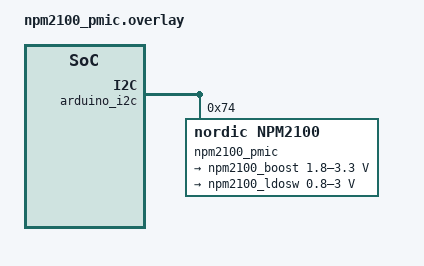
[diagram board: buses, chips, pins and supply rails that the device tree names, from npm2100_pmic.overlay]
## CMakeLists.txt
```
# SPDX-License-Identifier: Apache-2.0

cmake_minimum_required(VERSION 3.20.0)
find_package(Zephyr REQUIRED HINTS $ENV{ZEPHYR_BASE})
project(bt-lowpower)

target_sources(app PRIVATE src/main.c)
```

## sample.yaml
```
sample:
  description: Designing Low Power Bluetooth LE devices Lesson 6 Exercise 1
  name: Low Power Bluetooth LE devices - Lesson 6 Exercise 1

common: 
    sysbuild: true
    build_only: true
    integration_platforms:
      - nrf54l15dk/nrf54l15/cpuapp
      - nrf54lm20dk/nrf54lm20b/cpuapp
      - nrf54lm20dk/nrf54lm20a/cpuapp
      - nrf54ls05dk/nrf54ls05b/cpuapp
      - nrf54ls05dk/nrf54ls05a/cpuapp
      - nrf54lv10dk/nrf54lv10a/cpuapp
      - nrf54lc10dk/nrf54lc10a/cpuapp

    platform_allow:
      - nrf54l15dk/nrf54l15/cpuapp
      - nrf54lm20dk/nrf54lm20b/cpuapp
      - nrf54lm20dk/nrf54lm20a/cpuapp
      - nrf54ls05dk/nrf54ls05b/cpuapp
      - nrf54ls05dk/nrf54ls05a/cpuapp
      - nrf54lv10dk/nrf54lv10a/cpuapp
      - nrf54lc10dk/nrf54lc10a/cpuapp


tests:
  l6.e1.sol: {} 
  
```

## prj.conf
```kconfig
# Copyright (c) 2026 Nordic Semiconductor ASA
# SPDX-License-Identifier: Apache-2.0

# Logging
CONFIG_SERIAL=n
CONFIG_LOG=n

# BLE
CONFIG_BT=y
CONFIG_BT_PERIPHERAL=y
CONFIG_BT_BROADCASTER=y
CONFIG_BT_DEVICE_NAME="L2E1"

# PMIC drivers
CONFIG_MFD=y
CONFIG_REGULATOR=y
CONFIG_SENSOR=y
```

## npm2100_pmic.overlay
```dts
/*
* Copyright (C) 2025 Nordic Semiconductor ASA
* SPDX-License-Identifier: Apache-2.0
*/

#include <dt-bindings/regulator/npm2100.h>
#include <zephyr/dt-bindings/input/input-event-codes.h>
#include <zephyr/dt-bindings/gpio/nordic-npm2100-gpio.h>

&arduino_i2c {
    npm2100_pmic: pmic@74 {
        compatible = "nordic,npm2100";
        reg = <0x74>;

        
        host-int-type = "level";
        pmic-int-pin = <0>;
        pmic-int-flags = <(GPIO_ACTIVE_HIGH)>;
            
        

        shiphold-longpress = "ship";
        

        npm2100_gpio: gpio-controller {
            compatible = "nordic,npm2100-gpio";
            gpio-controller;
            #gpio-cells = <2>;
            ngpios = <2>;
        };

        npm2100_regulators: regulators {
            compatible = "nordic,npm2100-regulator";

            npm2100_boost: BOOST {
                regulator-always-on;
                regulator-min-microvolt = <1800000>;
                regulator-max-microvolt = <3300000>;

                
                regulator-init-microamp = <300000>;
                
                
            };


            npm2100_ldosw: LDOSW {
                regulator-min-microvolt = <800000>;
                regulator-max-microvolt = <3000000>;
 
                regulator-boot-on;
                
                regulator-init-microamp = <75000>;
                regulator-initial-mode = <(NPM2100_REG_OPER_OFF | NPM2100_REG_FORCE_HP | NPM2100_REG_LDSW_EN)>;
                mode-gpios = <&npm2100_gpio 1 (GPIO_ACTIVE_LOW  | GPIO_PULL_UP | NPM2100_GPIO_DEBOUNCE_OFF)>;
            };

        };

        npm2100_wdt: watchdog {
            compatible = "nordic,npm2100-wdt";
        };

        npm2100_vbat: vbat {
            compatible = "nordic,npm2100-vbat";
        };
   };
};
```

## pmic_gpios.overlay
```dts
/*
 * Copyright (C) 2026 Nordic Semiconductor ASA
 * SPDX-License-Identifier: Apache-2.0
 */

&npm2100_pmic {
    /* STEP 3.1.1 - Add active-high interrupt input (P0.02) */
    host-int-gpios = <&gpio0 2 (GPIO_ACTIVE_HIGH | GPIO_PULL_DOWN)>;
};

&npm2100_regulators {
    /* STEP 3.1.2 - Add active-low LDSW control output (P0.03) */
    dvs-gpios = <&gpio0 3 GPIO_ACTIVE_LOW>;
};
```

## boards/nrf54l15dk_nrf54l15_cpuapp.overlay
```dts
&gpio1 {
   /* STEP 6 - Disable the GPIOTE IN event on pin 13 (button 0) */
 sense-edge-mask = <(1 << 13)>;
};
```

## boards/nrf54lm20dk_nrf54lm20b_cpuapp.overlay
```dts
&gpio1 {
   /* STEP 6 - Disable the GPIOTE IN event on pin 26 (button 0) */
 sense-edge-mask = <(1 << 26)>;
};
```

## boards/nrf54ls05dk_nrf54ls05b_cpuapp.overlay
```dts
&gpio1 {
   /* STEP 6 - Disable the GPIOTE IN event on pin 13 (button 0) */
 sense-edge-mask = <(1 << 13)>;
};
```

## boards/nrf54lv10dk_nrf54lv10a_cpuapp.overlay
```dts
&gpio1 {
   /* STEP 6 - Disable the GPIOTE IN event on pin 21 (button 0) */
 sense-edge-mask = <(1 << 21)>;
};
```

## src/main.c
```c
/* 
 * Copyright (c) 2026 Nordic Semiconductor ASA
 * SPDX-License-Identifier: Apache-2.0
 */

#include <stdio.h>
#include <zephyr/drivers/gpio.h>
#include <zephyr/drivers/regulator.h>
#include <zephyr/drivers/sensor.h>
#include <zephyr/drivers/mfd/npm2100.h>
#include <zephyr/logging/log.h>

#include <zephyr/bluetooth/bluetooth.h>
#include <zephyr/bluetooth/hci.h>

LOG_MODULE_REGISTER(l6_e1_main, CONFIG_LOG_DEFAULT_LEVEL);

#define DEVICE_NAME           CONFIG_BT_DEVICE_NAME
#define DEVICE_NAME_LEN       (sizeof(DEVICE_NAME) - 1)
#define APP_BT_LE_ADV_NONCONN BT_LE_ADV_PARAM(BT_LE_ADV_OPT_NONE, \
											  BT_GAP_ADV_SLOW_INT_MIN, \
											  BT_GAP_ADV_SLOW_INT_MAX, NULL)
#define APP_ADV_UPD_PERIOD_MS 20000

static uint8_t mfg_data[] = "\x59\x00VBAT:0.00 VDD:0.00";

static const struct bt_data ad[] = {
	BT_DATA_BYTES(BT_DATA_FLAGS, (BT_LE_AD_GENERAL | BT_LE_AD_NO_BREDR)),
	BT_DATA(BT_DATA_NAME_COMPLETE, DEVICE_NAME, DEVICE_NAME_LEN),
	BT_DATA(BT_DATA_MANUFACTURER_DATA, mfg_data, sizeof(mfg_data) - 1),
};

#define SHORT_PRESS_MS     500
#define DVS_STATE_LDSW_ON  1
#define DVS_STATE_LDSW_OFF 0

static const struct device *npm2100 = DEVICE_DT_GET_ANY(nordic_npm2100);
static const struct device *npm2100_reg = DEVICE_DT_GET_ANY(nordic_npm2100_regulator);
static const struct device *npm2100_ldsw = DEVICE_DT_GET_OR_NULL(DT_NODELABEL(npm2100_ldosw));
static const struct device *npm2100_adc = DEVICE_DT_GET_ANY(nordic_npm2100_vbat);

static bool short_press;
static struct gpio_callback shphld_cb;
static struct k_work shphld_work;

static int ldsw_pulse(int32_t on_off_dur, size_t cnt) {
	int ret;

	while (cnt--) {
		ret = regulator_parent_dvs_state_set(npm2100_reg, DVS_STATE_LDSW_ON);
		if (ret < 0) {
			return ret;
		}
		k_msleep(on_off_dur);

		ret = regulator_parent_dvs_state_set(npm2100_reg, DVS_STATE_LDSW_OFF);
		if (ret < 0) {
			return ret;
		}
		k_msleep(on_off_dur);
	}

	return 0;
}

void shphld_handler(struct k_work *work) {
	int ret;

	if (short_press) {
		LOG_INF("short press");
		ret = ldsw_pulse(500, 1);
	} else {
		LOG_INF("long press");
		ret = ldsw_pulse(250, 2);
	}

	if (ret < 0) {
		LOG_ERR("error while turning LDSW on/off (%d)", ret);
	}
}

void events_handler(const struct device *dev, struct gpio_callback *cb, uint32_t events) {
	static int64_t ref_time;

	if (events & BIT(NPM2100_EVENT_SYS_SHIPHOLD_FALL)) {
		ref_time = k_uptime_get();
	}

	if (events & BIT(NPM2100_EVENT_SYS_SHIPHOLD_RISE)) {
		short_press = k_uptime_delta(&ref_time) < SHORT_PRESS_MS;
		k_work_submit(&shphld_work);
	}
}

int get_voltages(struct sensor_value *vbat, struct sensor_value *vout) {
	int ret;

	/* STEP 4.2.1 - Fetch a new measurement */
	ret = sensor_sample_fetch(npm2100_adc);
	if (ret < 0) {
		LOG_ERR("failed to fetch (%d)", ret);
		return ret;
	}

	/* STEP 4.2.2 - Get the SENSOR_CHAN_GAUGE_VOLTAGE channel result into vbat */
	ret = sensor_channel_get(npm2100_adc, SENSOR_CHAN_GAUGE_VOLTAGE, vbat);
	if (ret < 0) {
		LOG_ERR("failed to get gauge voltage channel (%d)", ret);
		return ret;
	}

	/* STEP 4.2.3 - Get the SENSOR_CHAN_VOLTAGE channel result into vout */
	ret = sensor_channel_get(npm2100_adc, SENSOR_CHAN_VOLTAGE, vout);
	if (ret < 0) {
		LOG_ERR("failed to get voltage channel (%d)", ret);
		return ret;
	}

	return 0;
}

int main(void) {
	int ret;
	struct sensor_value vbat, vout;

	/* Init BT and start advertising */
	ret = bt_enable(NULL);
	if (ret) {
		LOG_ERR("bluetooth init failed (%d)\n", ret);
		return ret;
	}
	ret = bt_le_adv_start(APP_BT_LE_ADV_NONCONN, ad, ARRAY_SIZE(ad), NULL, 0);
	if (ret) {
		LOG_ERR("advertising failed to start (%d)\n", ret);
		return ret;
	}

	/* Configure PMIC */
	ret = regulator_parent_dvs_state_set(npm2100_reg, DVS_STATE_LDSW_OFF);
	if (ret < 0) {
		LOG_ERR("failed to change DVS state (%d)", ret);
		return ret;
	}
	regulator_enable(npm2100_ldsw);
	if (ret < 0) {
		LOG_ERR("failed to enable LDSW (%d)", ret);
		return ret;
	}

	k_work_init(&shphld_work, shphld_handler);

	/* STEP 4.1.1 - Initialize the npm2100 callback  */
	gpio_init_callback(&shphld_cb, events_handler, BIT(NPM2100_EVENT_SYS_SHIPHOLD_FALL) |
							BIT(NPM2100_EVENT_SYS_SHIPHOLD_RISE));

	/* STEP 4.1.2 - Add the npm2100 callback `shphld_cb` to the mfd driver. */
	ret = mfd_npm2100_add_callback(npm2100, &shphld_cb);
	if (ret < 0) {
		LOG_ERR("failed to add a callback (%d)", ret);
		return ret;
	}

	LOG_INF("PMIC device ok");

	while (true) {
		/* Get ADC measurements */
		get_voltages(&vbat, &vout);

		/* Change advertising data to include the new measurements */
		snprintf(&mfg_data[2], sizeof(mfg_data) - 2, "VBAT:%01d.%02d VDD:%01d.%02d",
				 abs(vbat.val1) % 10, abs(vbat.val2 / 10000) % 100,
				 abs(vout.val1) % 10, abs(vout.val2 / 10000) % 100);
		LOG_INF("%s", &mfg_data[2]);
		bt_le_adv_update_data(ad, ARRAY_SIZE(ad), NULL, 0);

		k_msleep(APP_ADV_UPD_PERIOD_MS);
	}

	return 0;
}
```
